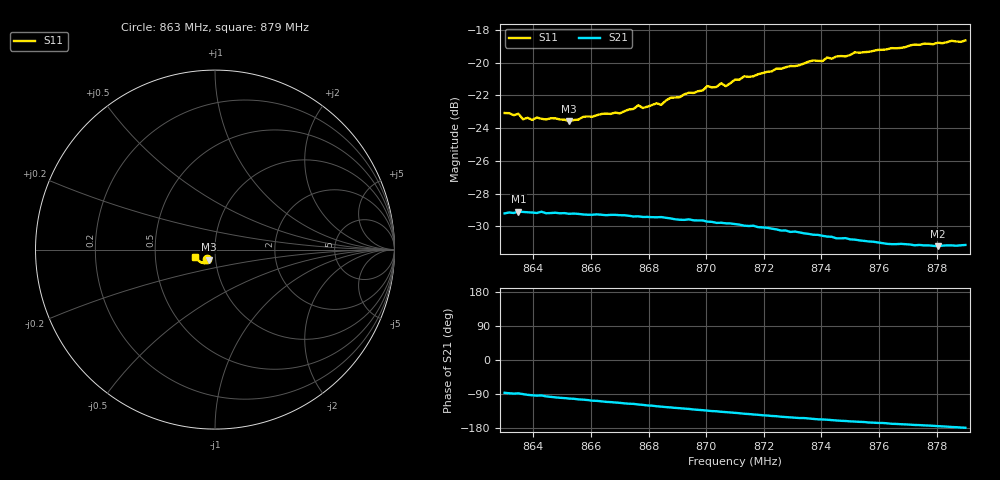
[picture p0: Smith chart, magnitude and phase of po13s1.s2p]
# HZ S RI R 50
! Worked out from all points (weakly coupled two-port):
!   101 points, 863 MHz to 879 MHz, reference 50 ohm
!   highest |S21| = -29.09 dB at 863.48 MHz (marker M1); lowest = -31.2 dB at 878.04 MHz (marker M2)
!   lowest |S11| = -23.6 dB at 865.24 MHz (marker M3), VSWR 1.14, Z = 46.2 - j5.15 ohm
!   |S11| at or under -10 dB: start of sweep to end of sweep
!   S12 and S22 are empty: the file has one direction only
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8.63e8  -0.0437 -0.0549  0.00207 -0.0346  0 0  0 0
8.6348e8  -0.0408 -0.0566  0.00121 -0.0351  0 0  0 0
8.6364e8  -0.0399 -0.054  -9e-06 -0.035  0 0  0 0
8.6476e8  -0.0385 -0.0556  -0.00524 -0.0344  0 0  0 0
8.6524e8  -0.0362 -0.0555  -0.00706 -0.0338  0 0  0 0
8.6572e8  -0.0351 -0.0585  -0.00866 -0.0333  0 0  0 0
8.67e8  -0.0341 -0.0611  -0.0134 -0.0315  0 0  0 0
8.6764e8  -0.0362 -0.0647  -0.0156 -0.0301  0 0  0 0
8.678e8  -0.0352 -0.0636  -0.0161 -0.0297  0 0  0 0
8.6828e8  -0.0355 -0.0662  -0.0179 -0.0286  0 0  0 0
8.6844e8  -0.0357 -0.0652  -0.0184 -0.0283  0 0  0 0
8.6876e8  -0.0377 -0.0684  -0.0192 -0.0274  0 0  0 0
8.6988e8  -0.0413 -0.0711  -0.0222 -0.0243  0 0  0 0
8.7004e8  -0.044 -0.0726  -0.0225 -0.0237  0 0  0 0
8.7036e8  -0.044 -0.0719  -0.023 -0.0228  0 0  0 0
8.7052e8  -0.0468 -0.0729  -0.0236 -0.0223  0 0  0 0
8.7068e8  -0.0457 -0.0714  -0.0238 -0.0218  0 0  0 0
8.71e8  -0.0481 -0.0746  -0.0244 -0.0209  0 0  0 0
8.7372e8  -0.0691 -0.0745  -0.0271 -0.0124  0 0  0 0
8.7644e8  -0.0923 -0.0613  -0.0273 -0.00562  0 0  0 0
8.7804e8  -0.1043 -0.0487  -0.0274 -0.00261  0 0  0 0
8.79e8  -0.1103 -0.0388  -0.0277 -0.00056  0 0  0 0
